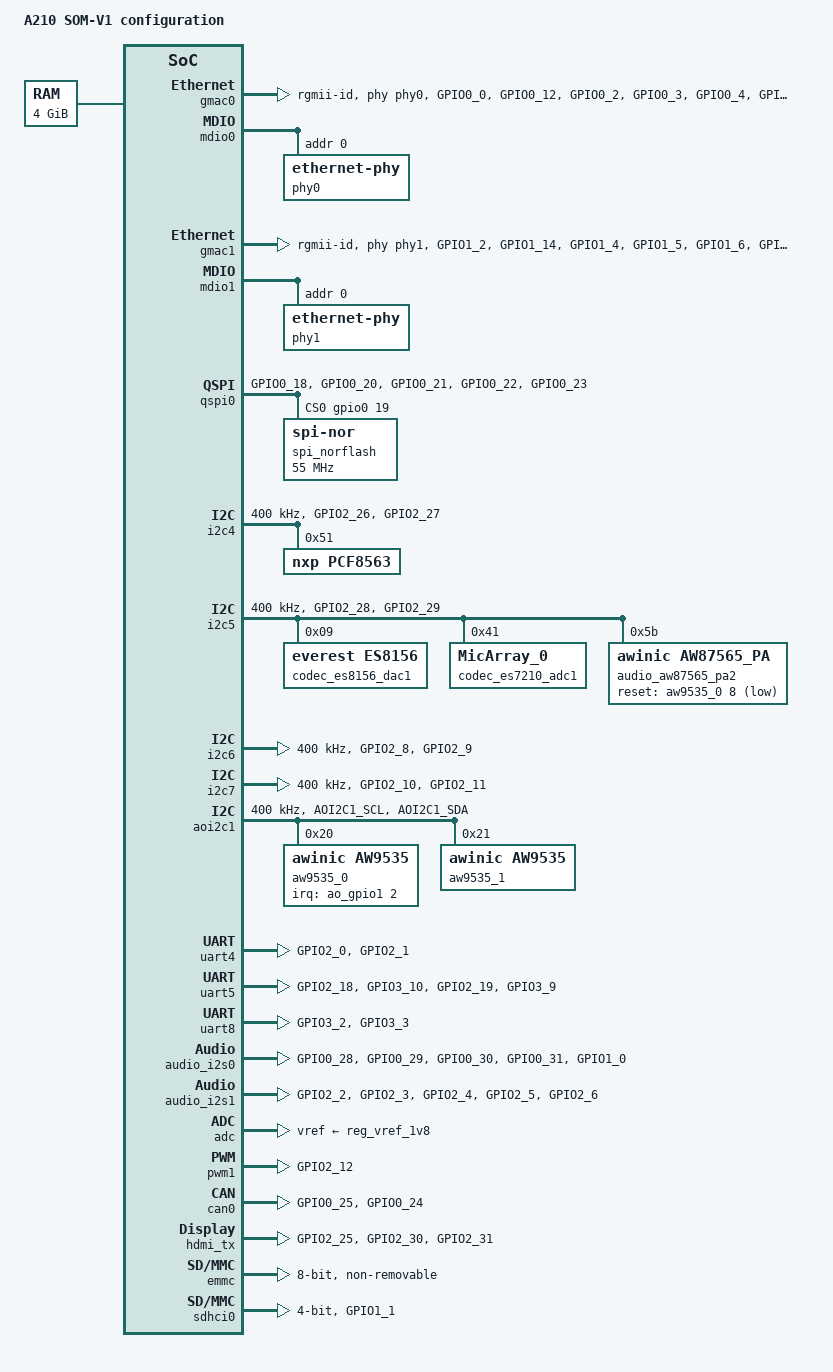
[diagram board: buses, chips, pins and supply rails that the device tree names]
/dts-v1/;

#include <dt-bindings/gpio/gpio.h>
#include "a210-soc-core.dtsi"
#include "a210-soc-peri.dtsi"
#include "a210-platform-dev.dtsi"

#define SOUND_CARD_LINK(REG, FMT, CPU, M, CODEC, N) \
	simple-audio-card,dai-link@##REG { \
		reg = <REG>; \
		format = #FMT; \
		cpu { \
			sound-dai = <&audio_##CPU M>; \
		}; \
		codec { \
			sound-dai = <&codec_##CODEC N>; \
		}; \
	}

/ {
	model = "A210 SOM-V1 configuration";

	aliases {
		ethernet0 = &gmac0;
		ethernet1 = &gmac1;

		gpio0 = &gpio0;
		gpio1 = &gpio1;
		gpio2 = &gpio2;
		gpio3 = &gpio3;
		gpio4 = &gpio4;

		i2c0 = &i2c0;
		i2c1 = &i2c1;
		i2c2 = &i2c2;
		i2c3 = &i2c3;
		i2c4 = &i2c4;
		i2c5 = &i2c5;
		i2c6 = &i2c6;
		i2c7 = &i2c7;
		aoi2c1 = &aoi2c1;

		can0 = &can0;
		can1 = &can1;
		can2 = &can2;

		mmc0 = &emmc;
		mmc1 = &sdhci0;
		serial0 = &uart0;
		serial1 = &uart1;
		serial2 = &uart2;
		serial3 = &uart3;
		serial4 = &uart4;
		serial5 = &uart5;
		serial6 = &uart6;
		serial7 = &uart7;
		serial8 = &uart8;
		serial9 = &uart9;
		spi0 = &qspi0;
		spi1 = &qspi1;
		spi2 = &spi0;
		spi3 = &spi1;
		pcie3x4 = &dm3x4;
		pcie3x1 = &rp3x1;
	};

	/* The actual capacity will be adjusted through SPL */
	memory@0 {
		device_type = "memory";
		reg = <0x00 0x80000000  0x01 0x00000000>; /* 4G */
		numa-node-id = <0>;
	};

	reserved-memory {
		#address-cells = <2>;
		#size-cells = <2>;
		ranges;

		linux,cma {
			compatible = "shared-dma-pool";
			reusable;
			size = <0x00 0x40000000>;
			alloc-ranges = <0x00 0x90000000 0x00 0x40000000>;
			linux,cma-default;
		};

		memory@1c000000 {
			reg = <0x00 0x1c000000 0x00 0x2000000>;
			no-map;
		};

		framebuffer: framebuffer@10000000 {
			reg = <0x01 0x00 0x00 0x5000000>;
			no-map;
		};

		npu_mmu_memory@130000000 {
			reg = <0x01 0x30000000 0x00 0x04000000>;
			no-map;
		};

		memblock-memory@17b800000 {
			reg = <0x01 0x7b800000 0x00 0x04000000>;
			no-map;
		};
	};

	Sound_Card@0 {
		compatible = "simple-audio-card";
		simple-audio-card,name = "Sound-Card-I2S0";
		#address-cells = <1>;
		#size-cells = <0>;
		status = "okay";

		SOUND_CARD_LINK(0, i2s, i2s0, 0, es8156_dac0, 0);  /* I2S0 <-> es8156_dac0 */
		SOUND_CARD_LINK(1, i2s, i2s0, 0, es7210_adc0, 0);  /* I2S0 <-> es7210_adc0 */
	};

	Sound_Card@1 {
		compatible = "simple-audio-card";
		simple-audio-card,name = "Sound-Card-I2S1";
		#address-cells = <1>;
		#size-cells = <0>;
		status = "okay";

		simple-audio-card,widgets = "Speaker", "Speaker";
		simple-audio-card,routing =
			"Speaker", "AW87565_PA2 VO",
			"AW87565_PA2 IN", "ES8156_DAC1 LOUT";
		simple-audio-card,aux-devs = <&audio_aw87565_pa2>;
		SOUND_CARD_LINK(0, i2s, i2s1, 0, es8156_dac1, 0);
		SOUND_CARD_LINK(1, i2s, i2s1, 0, es7210_adc1, 0);
	};

	/* The bootargs in U-Boot will override the configuration set here. */
	chosen {
		stdout-path = "serial4";
	};
};

&aon_padctrl {
	rtc_pins: rtc {
		rtc-pins {
			pins = "AOGPIO0_27";
			function = "aogpio0";
			bias-disable;
			drive-strength = <13>;
			input-enable;
			input-schmitt-disable;
			slew-rate = <0>;
		};
	};
    aoi2c1_pins: aoi2c1-0 {
		i2c-pins {
			pins = "AOI2C1_SCL", "AOI2C1_SDA";
			function = "aoi2c1";
			bias-disable;
			drive-strength = <7>;
			input-enable;
			input-schmitt-enable;
			slew-rate = <0>;
		};
	};
};

&peri1_padctrl {
	gmac0_pins: gmac0-0 {
		txclk-pins {
			pins = "GPIO0_0", /* GMAC0_TX_CLK */
					"GPIO0_12"; /* GMAC0_MDC */
			function = "gmac0";
			bias-disable;
			drive-strength = <13>;
			input-disable;
			input-schmitt-disable;
			slew-rate = <0>;
		};

		tx-pins {
			pins = "GPIO0_2", /* GMAC0_TXEN */
					"GPIO0_3", /* GMAC0_TXD0 */
					"GPIO0_4", /* GMAC0_TXD1 */
					"GPIO0_5", /* GMAC0_TXD2 */
					"GPIO0_6"; /* GMAC0_TXD3 */
			function = "gmac0";
			bias-disable;
			drive-strength = <20>;
			input-disable;
			input-schmitt-disable;
			slew-rate = <0>;
		};

		rx-pins {
			pins = "GPIO0_1",  /* GMAC0_RX_CLK */
					"GPIO0_7",  /* GMAC0_RXDV */
					"GPIO0_8",  /* GMAC0_RXD0 */
					"GPIO0_9",  /* GMAC0_RXD1 */
					"GPIO0_10", /* GMAC0_RXD2 */
					"GPIO0_11", /* GMAC0_RXD3 */
					"GPIO0_13"; /* GMAC0_MDIO */
			function = "gmac0";
			bias-disable;
			drive-strength = <13>;
			input-enable;
			input-schmitt-disable;
			slew-rate = <0>;
		};
	};
	i2s0_pins: i2s0-1 {
		i2s-pins {
			pins = "GPIO0_28", "GPIO0_29", "GPIO0_30", "GPIO0_31", "GPIO1_0";
			function = "i2s0";
			bias-disable;
			drive-strength = <13>;
			input-schmitt-disable;
			slew-rate = <0>;
		};
	};
	qspi0_pins: qspi0-0 {
		qspi-pins {
			pins = "GPIO0_18", "GPIO0_20", "GPIO0_21", "GPIO0_22", "GPIO0_23";
			function = "qspi0";
			bias-disable;
			drive-strength = <13>;
			input-enable;
			input-schmitt-enable;
			slew-rate = <0>;
		};
	};
	can0_pins: can0-0 {
		tx-pins {
			pins = "GPIO0_25";
			function = "can0";
			bias-disable;
			drive-strength = <5>;
			input-disable;
			input-schmitt-disable;
			slew-rate = <1>;
		};

		rx-pins {
			pins = "GPIO0_24";
			function = "can0";
			bias-disable;
			drive-strength = <1>;
			input-enable;
			input-schmitt-enable;
			slew-rate = <0>;
		};
	};
	pcie_x1_pins: pcie_x1-1 {
		pcie_x1-pins {
			pins = "GPIO0_24", "GPIO0_25", "GPIO0_26", "GPIO0_27";
			function = "pcie_x1";
			bias-disable;
			drive-strength = <7>;
			input-enable;
			input-schmitt-enable;
			slew-rate = <0>;
		};
	};
	pcie_x4_pins: pcie_x4-1 {
		pcie_x4-pins {
			pins = "GPIO0_28", "GPIO0_29", "GPIO0_31";
			function = "pcie_x4";
			bias-disable;
			drive-strength = <7>;
			input-enable;
			input-schmitt-enable;
			slew-rate = <0>;
		};
	};
	gmac1_pins: gmac1-0 {
		txclk-pins {
			pins = "GPIO1_2", /* GMAC1_TX_CLK */
					"GPIO1_14"; /* GMAC1_MDC */
			function = "gmac1";
			bias-disable;
			drive-strength = <13>;
			input-disable;
			input-schmitt-disable;
			slew-rate = <0>;
		};
		tx-pins {
			pins = "GPIO1_4", /* GMAC1_TXEN */
					"GPIO1_5", /* GMAC1_TXD0 */
					"GPIO1_6", /* GMAC1_TXD1 */
					"GPIO1_7", /* GMAC1_TXD2 */
					"GPIO1_8"; /* GMAC1_TXD3 */
			function = "gmac1";
			bias-disable;
			drive-strength = <20>;
			input-disable;
			input-schmitt-disable;
			slew-rate = <0>;
		};
		rx-pins {
			pins = "GPIO1_3",  /* GMAC1_RX_CLK */
					"GPIO1_9",  /* GMAC1_RXDV */
					"GPIO1_10", /* GMAC1_RXD0 */
					"GPIO1_11", /* GMAC1_RXD1 */
					"GPIO1_12", /* GMAC1_RXD2 */
					"GPIO1_13", /* GMAC1_RXD3 */
					"GPIO1_15"; /* GMAC1_MDIO */
			function = "gmac1";
			bias-disable;
			drive-strength = <13>;
			input-enable;
			input-schmitt-disable;
			slew-rate = <0>;
		};
	};
	sdhci_pins: sdhci0-1 {
		sd-pins {
			pins = "GPIO1_1";
			function = "sdio";
			bias-disable;
			drive-strength = <13>;
			input-enable;
			input-schmitt-enable;
			slew-rate = <0>;
		};
	};
};

&peri2_padctrl {
	uart4_pins: uart4-0 {
		tx-pins {
			pins = "GPIO2_0";
			function = "uart4";
			bias-disable;
			drive-strength = <3>;
			input-disable;
			input-schmitt-disable;
			slew-rate = <0>;
		};

		rx-pins {
			pins = "GPIO2_1";
			function = "uart4";
			bias-disable;
			drive-strength = <1>;
			input-enable;
			input-schmitt-enable;
			slew-rate = <0>;
		};
	};
	i2c5_pins: i2c5-1 {
		i2c-pins {
			pins = "GPIO2_28", "GPIO2_29";
			function = "i2c5";
			bias-disable;
			drive-strength = <7>;
			input-enable;
			input-schmitt-enable;
			slew-rate = <0>;
		};
	};
	uart5_pins: uart5-1 {
		tx-pins {
			pins = "GPIO2_18", "GPIO3_10";	// TXD, RTSN
			function = "uart5";
			bias-disable;
			drive-strength = <3>;
			input-disable;
			input-schmitt-disable;
			slew-rate = <0>;
		};

		rx-pins {
			pins = "GPIO2_19", "GPIO3_9";	// RXD, CTSN
			function = "uart5";
			bias-disable;
			drive-strength = <1>;
			input-enable;
			input-schmitt-enable;
			slew-rate = <0>;
		};
	};
	i2c6_pins: i2c6-1 {
		i2c-pins {
			pins = "GPIO2_8", "GPIO2_9";
			function = "i2c6";
			bias-disable;
			drive-strength = <7>;
			input-enable;
			input-schmitt-enable;
			slew-rate = <0>;
		};
	};
	i2s1_pins: i2s1-0 {
		i2s-pins {
			pins = "GPIO2_2", "GPIO2_3", "GPIO2_4", "GPIO2_5", "GPIO2_6";
			function = "i2s1";
			bias-disable;
			drive-strength = <13>;
			input-schmitt-disable;
			slew-rate = <0>;
		};
	};
	i2c7_pins: i2c7-0 {
		i2c-pins {
			pins = "GPIO2_10", "GPIO2_11";
			function = "i2c7";
			bias-disable;
			drive-strength = <7>;
			input-enable;
			input-schmitt-enable;
			slew-rate = <0>;
		};
	};
	i2c4_pins: i2c4-2 {
		i2c-pins {
			pins = "GPIO2_26", "GPIO2_27";
			function = "i2c4";
			bias-disable;
			drive-strength = <7>;
			input-enable;
			input-schmitt-enable;
			slew-rate = <0>;
		};
	};
	pwm1_pins: pwm1-1 {
		pwm1-pins {
			pins = "GPIO2_12"; // PWM1_CH2
			function = "pwm1";
			bias-disable;
			drive-strength = <13>;
			input-disable;
			input-schmitt-disable;
			slew-rate = <0>;
		};
	};
	hdmi_pins: hdmi-0 {
		hdmi-pins {
			pins = "GPIO2_25", "GPIO2_30", "GPIO2_31";
			function = "hdmi";
			bias-disable;
			drive-strength = <3>;
			input-enable;
			input-schmitt-disable;
			slew-rate = <0>;
		};
	};
	sen_vclk_pins: sen_vclk-1 {
		sen_vclk-pins {
			pins = "GPIO3_0", "GPIO3_1";
			function = "sen_vclk";
			bias-disable;
			drive-strength = <7>;
			input-enable;
			input-schmitt-enable;
			slew-rate = <0>;
		};
	};
	uart8_pins: uart8-1 {
		tx-pins {
			pins = "GPIO3_2";	// TXD
			function = "uart8";
			bias-disable;
			drive-strength = <3>;
			input-disable;
			input-schmitt-disable;
			slew-rate = <0>;
		};

		rx-pins {
			pins = "GPIO3_3";	// RXD
			function = "uart8";
			bias-disable;
			drive-strength = <1>;
			input-enable;
			input-schmitt-enable;
			slew-rate = <0>;
		};
	};
};

&gmac0 {
	phy-mode = "rgmii-id";
	pinctrl-names = "default";
	pinctrl-0 = <&gmac0_pins>;
	rx-clk-delay = <0x00>; /* for RGMII */
	tx-clk-delay = <0x00>; /* for RGMII */
	phy-handle = <&phy0>;
};

&mdio0 {
	phy0: ethernet-phy@0 {
		reg = <0x0>;
	};
};

&gmac1 {
	phy-mode = "rgmii-id";
	pinctrl-names = "default";
	pinctrl-0 = <&gmac1_pins>;
	phy-handle = <&phy1>;
};

&mdio1 {
	phy1: ethernet-phy@1 {
		reg = <0x0>;
	};
};

&qspi0 {
	cs-gpios = <&gpio0 19 0>;
	rx-sample-dly = <2>;
	spi-swap-data = <1>;
	spi-max-frequency = <55000000>;
	pinctrl-names = "default";
	pinctrl-0 = <&qspi0_pins>;

	spi_norflash@0 {
		compatible = "jedec,spi-nor";
		spi-max-frequency = <55000000>;
		#address-cells = <1>;
		#size-cells = <1>;
		spi-tx-bus-width = <4>;
		spi-rx-bus-width = <4>;
		reg = <0>;
		status = "okay";
	};
};

&i2c4 {
	pinctrl-names = "default";
	pinctrl-0 = <&i2c4_pins>;
	clock-frequency = <400000>;

	pcf8563: rtc@51 {
		pinctrl-names = "default";
		pinctrl-0 = <&rtc_pins>;
		compatible = "nxp,pcf8563";
		reg = <0x51>;
	};
};

&i2c5 {
	pinctrl-names = "default";
	pinctrl-0 = <&i2c5_pins>;
	clock-frequency = <400000>;

	codec_es8156_dac0: es8156@8 {
		compatible = "everest,es8156";
		reg = <0x8>;
		#sound-dai-cells = <1>;
		sound-name-prefix = "ES8156_DAC0";
		mclk-sclk-ratio = <4>;
		status = "disabled";
	};

	codec_es7210_adc0: es7210@40 {
		compatible = "MicArray_0";
		reg = <0x40>;
		#sound-dai-cells = <1>;
		work-mode = "ES7210_NORMAL_I2S";
		channels-max = <2>;
		mclk-sclk-ratio = <4>;
		sound-name-prefix = "ES7210_ADC0";
		status = "disabled";
	};

	codec_es8156_dac1: es8156@9 {
		compatible = "everest,es8156";
		reg = <0x9>;
		#sound-dai-cells = <1>;
		sound-name-prefix = "ES8156_DAC1";
		mclk-sclk-ratio = <4>;
		status = "okay";
	};

	codec_es7210_adc1: es7210@41 {
		compatible = "MicArray_0";
		reg = <0x41>;
		#sound-dai-cells = <1>;
		work-mode = "ES7210_NORMAL_I2S";
		channels-max = <2>;
		mclk-sclk-ratio = <4>;
		sound-name-prefix = "ES7210_ADC1";
		status = "okay";
	};

	audio_aw87565_pa2: audio_pa2@5b {
		compatible = "awinic,aw87565_pa";
		reg = <0x5b>;
		sound-name-prefix = "AW87565_PA2";
		reset-gpios = <&aw9535_0 8 GPIO_ACTIVE_LOW>;
		status = "okay";
	};
};

&i2c6 {
	pinctrl-names = "default";
	pinctrl-0 = <&i2c6_pins>;
	clock-frequency = <400000>;
};

&i2c7 {
	pinctrl-names = "default";
	pinctrl-0 = <&i2c7_pins>;
	clock-frequency = <400000>;
};

&aoi2c1 {
	pinctrl-names = "default";
	pinctrl-0 = <&aoi2c1_pins>;
	clock-frequency = <400000>;
	status = "okay";

    aw9535_0: gpio@20 {
        compatible = "awinic,aw9535";
        reg = <0x20>;
        gpio-controller;
        #gpio-cells = <2>;
        ngpios = <16>;
        interrupt-parent = <&ao_gpio1>;
        interrupts = <2 IRQ_TYPE_LEVEL_LOW>;
        gpio-line-names =
		    "CSI1_PWDN_IO0", "CSI1_RST_IO1", "CSI1_FSIN_IO2", "CSI0_PWDN_IO3",   				// index 0..3
		    "CSI0_RST_IO4", "CSI0_FSIN_IO5", "PCIE_X1_PRSNT_L_IO6", "PCIE_X4_PRSNT_L_IO7",   	// index 4..7
		    "AUDIO1_PARST0_IO8", "AUDIO_ADC1_INT_IO9", "AUDIO_ADC0_INT_IO10", "HP_CTL_H_IO11",  // index 8..11
		    "SIT91211_SSC_EN_IO12","DISP_RST_IO13","SWITCH3_SEL_IO14","SWITCH1_SEL_IO15";  		// index 12..15
    };

    aw9535_1: gpio@21 {
        compatible = "awinic,aw9535";
        reg = <0x21>;
        gpio-controller;
        #gpio-cells = <2>;
        ngpios = <16>;
        gpio-line-names =
		    "PCIE_BAT_EN_IO0", "AUDIO_3V3_PWREN_IO1", "AUDIO_1V8_PWREN_IO2", "MIPI_CSI0_PWREN_IO3", // index 0..3
		    "MIPI_CSI1_PWREN_IO4", "MIPI_TP_PWREN_IO5", "PCIE_3V3_EN_IO6", "PCIE_12V_EN_IO7",   	// index 4..7
		    "USBCON_PWREN_IO8", "USBCON1_PWREN_IO9", "PCIE_3V3_AUX_EN_IO10", "SDIO_3V3_PWREN_IO11", // index 8..11
		    "SDIO_1V8_PWREN_IO12","SIT91211_3V3_EN_IO13","MIPI_DSI_PWREN_IO14","BL_EN_IO15";  		// index 12..15
    };
};

&uart4 {
	pinctrl-names = "default";
	pinctrl-0 = <&uart4_pins>;
};

&uart5 {
	pinctrl-names = "default";
	pinctrl-0 = <&uart5_pins>;
};

&uart8 {
	pinctrl-names = "default";
	pinctrl-0 = <&uart8_pins>;
};

&rp3x1 {
	pinctrl-names = "default";
	pinctrl-0 = <&pcie_x1_pins>;
};

&dm3x4 {
	pinctrl-names = "default";
	pinctrl-0 = <&pcie_x4_pins>;
	pcie-bat-en-gpio = <&aw9535_1 0 GPIO_ACTIVE_HIGH>;
	pcie-3v3-en-gpio = <&aw9535_1 6 GPIO_ACTIVE_HIGH>;
	pcie-12v-en-gpio = <&aw9535_1 7 GPIO_ACTIVE_HIGH>;
	pcie-clk-en-gpio = <&aw9535_1 13 GPIO_ACTIVE_HIGH>;
};

&audio_i2s0 {
	pinctrl-names = "default";
	pinctrl-0 = <&i2s0_pins>;
};

&audio_i2s1 {
	pinctrl-names = "default";
	pinctrl-0 = <&i2s1_pins>;
};

&adc {
	vref-supply = <&reg_vref_1v8>;
	#io-channel-cells = <1>;
	sampling-frequency = <1000000>;
	resolution = <12>;
};

&pwm1 {
	pinctrl-names = "default";
	pinctrl-0 = <&pwm1_pins>;
};

&can0 {
	pinctrl-names = "default";
	pinctrl-0 = <&can0_pins>;
};

&hdmi_tx {
	pinctrl-names = "default";
	pinctrl-0 = <&hdmi_pins>;
};

&vidmem {
  memory-region = <&framebuffer>;
};

&emmc {
	max-frequency = <196608000>;
	non-removable;
	mmc-ddr-1_8v;
	mmc-hs200-1_8v;
	mmc-hs400-1_8v;
	cap-mmc-highspeed;
	io_fixed_1v8;
	is_emmc;
	no-sdio;
	no-sd;
	pull_up;
	bus-width = <8>;
};

&sdhci0 {
	pinctrl-names = "default";
	pinctrl-0 = <&sdhci_pins>;
	max-frequency = <196608000>;
	cap-sd-highspeed;
	bus-width = <4>;
	sd-uhs-sdr104;
	no-sdio;
	pull_up;
	wprtn_ignore;
};

&usb2_0 {
  status = "disabled";
};
